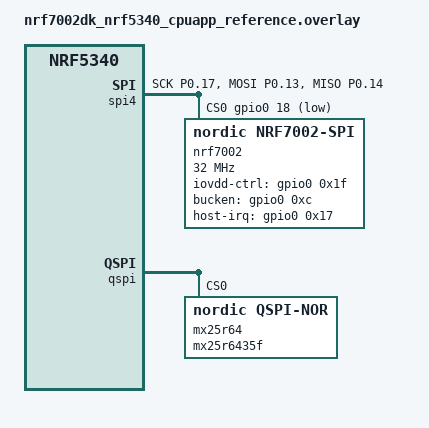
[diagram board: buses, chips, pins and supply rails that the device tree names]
/* overlay file for app core */


&spi4 {
	compatible = "nordic,nrf-spim";
	status = "okay";
	pinctrl-0 = <&spi4_default>;
	pinctrl-1 = <&spi4_sleep>;
	pinctrl-names = "default", "sleep";
	cs-gpios = <&gpio0 18 GPIO_ACTIVE_LOW>;
	/delete-node/ mx25r6435f@0;
	nrf7002: nrf7002@0 {
		status = "okay";
		compatible = "nordic,nrf7002-spi";
		reg = <0>;
		spi-max-frequency = <32000000>;
		iovdd-ctrl-gpios = < &gpio0 0x1f 0x0 >;
		bucken-gpios = < &gpio0 0xc 0x0 >;
		host-irq-gpios = < &gpio0 0x17 0x0 >;
	};
};

&qspi {
		compatible = "nordic,nrf-qspi";
		#address-cells = < 0x1 >;
		#size-cells = < 0x0 >;
		reg = < 0x2b000 0x1000 >, < 0x10000000 0x10000000 >;
		reg-names = "qspi", "qspi_mm";
		interrupts = < 0x2b 0x1 >;
		status = "okay";
		pinctrl-0 = < &qspi_default >;
		pinctrl-1 = < &qspi_sleep >;
		pinctrl-names = "default", "sleep";
		/delete-node/ nrf7002@1;
		mx25r64: mx25r6435f@0 {
			compatible = "nordic,qspi-nor";
			reg = < 0x0 >;
			writeoc = "pp4io";
			readoc = "read4io";
			sck-frequency = < 0x7a1200 >;
			jedec-id = [ C2 28 17 ];
			sfdp-bfp = [ E5 20 F1 FF FF FF FF 03 44 EB 08 6B 08 3B 04 BB EE FF FF FF FF FF 00 FF FF FF 00 FF 0C 20 0F 52 10 D8 00 FF 23 72 F5 00 82 ED 04 CC 44 83 68 44 30 B0 30 B0 F7 C4 D5 5C 00 BE 29 FF F0 D0 FF FF ];
			size = < 0x4000000 >;
			has-dpd;
			t-enter-dpd = < 0x2710 >;
			t-exit-dpd = < 0x88b8 >;
		};
};


&pinctrl {
	spi4_default: spi4_default {
		group1 {
			psels = <NRF_PSEL(SPIM_SCK, 0, 17)>,
				<NRF_PSEL(SPIM_MOSI, 0, 13)>,
				<NRF_PSEL(SPIM_MISO, 0, 14)>;
			nordic,drive-mode = <NRF_DRIVE_H0H1>;
		};
	};

	spi4_sleep: spi4_sleep {
		group1 {
			psels = <NRF_PSEL(SPIM_SCK, 0, 17)>,
				<NRF_PSEL(SPIM_MOSI, 0, 13)>,
				<NRF_PSEL(SPIM_MISO, 0, 14)>;
			low-power-enable;
		};
	};

	qspi_default: qspi_default {
		phandle = < 0x12 >;
		group1 {
			psels = < 0x1d0011 >, < 0x1f000d >, < 0x20000e >, < 0x21000f >, < 0x220010 >, < 0x1e0012 >;
		};
	};
	
	qspi_sleep: qspi_sleep {
		phandle = < 0x13 >;
		group1 {
			psels = < 0x1d0011 >, < 0x1f000d >, < 0x20000e >, < 0x21000f >, < 0x220010 >;
			low-power-enable;
		};
		group2 {
			psels = < 0x1e0012 >;
			low-power-enable;
			bias-pull-up;
		};
	};	
};

